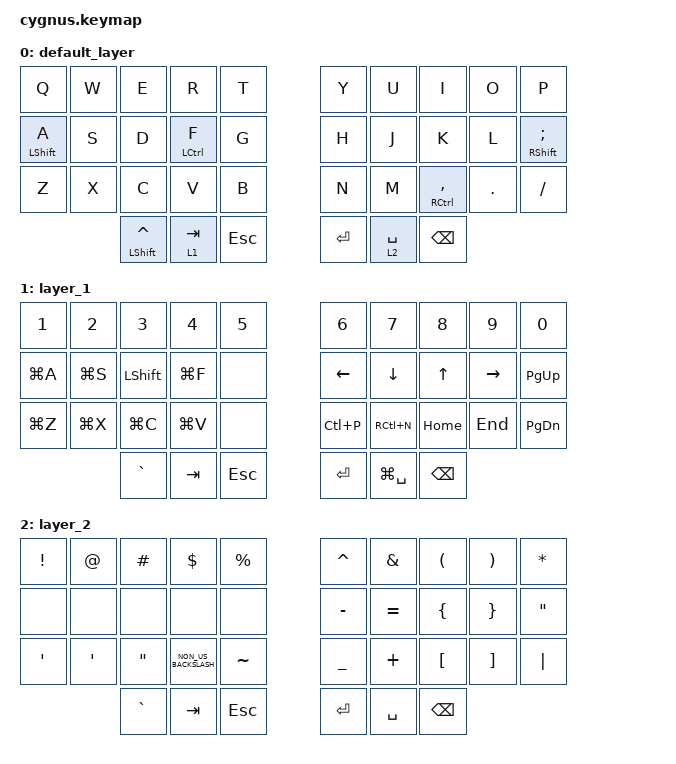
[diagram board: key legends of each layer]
/*
 * Copyright (c) 2020 The ZMK Contributors
 *
 * SPDX-License-Identifier: MIT
 */

#include <behaviors.dtsi>
#include <dt-bindings/zmk/keys.h>

&mt {
    tapping-term-ms = <200>;
    flavor = "tap-preferred";
};

&sk {
    release-after-ms = <2000>;
    quick-release;
};

/ {
    combos { compatible = "zmk,combos"; };

    behaviors {
        hm: homerow_mods {
            compatible = "zmk,behavior-hold-tap";
            label = "HOMEROW_MODS";
            #binding-cells = <2>;
            tapping-term-ms = <200>;
            quick_tap_ms = <0>;
            flavor = "tap-preferred";
            bindings = <&kp>, <&kp>;

            quick-tap-ms = <180>;
            global-quick-tap;
        };

        ltq: ltq {
            compatible = "zmk,behavior-hold-tap";
            label = "LTQ";
            #binding-cells = <2>;
            tapping-term-ms = <200>;
            quick_tap_ms = <0>;
            flavor = "hold-preferred";
            bindings = <&mo>, <&kp>;

            quick-tap-ms = <180>;
            global-quick-tap;
        };

        as: as {
            compatible = "zmk,behavior-hold-tap";
            label = "AUTO_SHIFT";
            bindings = <&kp>, <&kp>;

            #binding-cells = <2>;
            tapping-term-ms = <135>;
            quick-tap-ms = <0>;
            flavor = "tap-preferred";
        };
    };

    keymap {
        compatible = "zmk,keymap";

        default_layer {
            bindings = <
&kp Q         &kp W  &kp E             &kp R        &kp T    &kp Y      &kp U        &kp I            &kp O       &kp P
&hm LSHIFT A  &kp S  &kp D             &hm LCTRL F  &kp G    &kp H      &kp J        &kp K            &kp L       &hm RSHIFT SEMICOLON
&kp Z         &kp X  &kp C             &kp V        &kp B    &kp N      &kp M        &hm RCTRL COMMA  &kp PERIOD  &kp SLASH
                     &mt LSHIFT CARET  &lt 1 TAB    &kp ESC  &kp ENTER  &lt 2 SPACE  &kp BACKSPACE
            >;
        };

        layer_1 {
            bindings = <
&kp NUMBER_1  &kp NUMBER_2  &kp NUMBER_3  &kp NUMBER_4  &kp NUMBER_5  &kp NUMBER_6  &kp NUMBER_7    &kp NUMBER_8   &kp NUMBER_9  &kp NUMBER_0
&kp LG(A)     &kp LG(S)     &kp LSHIFT    &kp LG(F)     &none         &kp LEFT      &kp DOWN_ARROW  &kp UP_ARROW   &kp RIGHT     &kp PAGE_UP
&kp LG(Z)     &kp LG(X)     &kp LG(C)     &kp LG(V)     &none         &kp LC(P)     &kp RC(N)       &kp HOME       &kp END       &kp PAGE_DOWN
                            &kp GRAVE     &kp TAB       &kp ESC       &kp ENTER     &kp LG(SPACE)   &kp BACKSPACE
            >;
        };

        layer_2 {
            bindings = <
&kp EXCLAMATION  &kp AT_SIGN  &kp HASH           &kp DOLLAR            &kp PERCENT  &kp CARET       &kp AMPERSAND  &kp LEFT_PARENTHESIS  &kp RIGHT_PARENTHESIS  &kp ASTERISK
&none            &none        &none              &none                 &none        &kp MINUS       &kp EQUAL      &kp LEFT_BRACE        &kp RIGHT_BRACE        &kp DOUBLE_QUOTES
&kp SQT          &kp SQT      &kp DOUBLE_QUOTES  &kp NON_US_BACKSLASH  &kp TILDE    &kp UNDERSCORE  &kp PLUS       &kp LEFT_BRACKET      &kp RIGHT_BRACKET      &kp PIPE
                              &kp GRAVE          &kp TAB               &kp ESCAPE   &kp ENTER       &kp SPACE      &kp BACKSPACE
            >;
        };
    };
};
